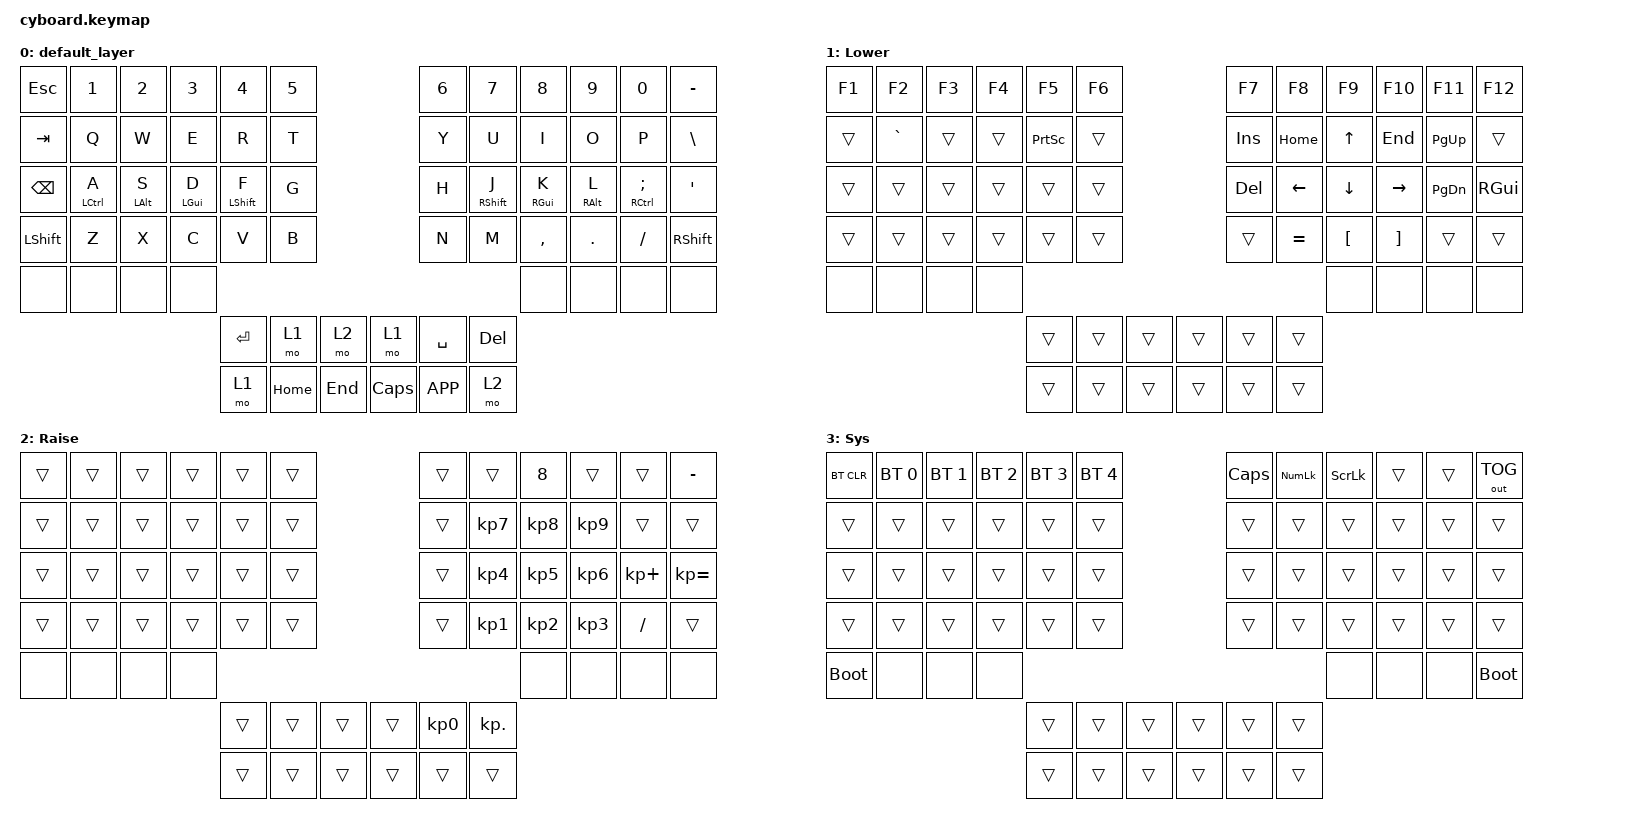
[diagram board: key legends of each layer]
#include <behaviors.dtsi>
#include <dt-bindings/zmk/keys.h>
#include <dt-bindings/zmk/rgb.h>
#include <dt-bindings/zmk/ext_power.h>
#include <dt-bindings/zmk/bt.h>
#include <dt-bindings/zmk/outputs.h>

/ {
    behaviors {
        tpmt: tpmt {
            compatible = "zmk,behavior-hold-tap";
            label = "TPMT";
            bindings = <&kp>, <&kp>;

            #binding-cells = <2>;
            flavor = "tap-preferred";
            tapping-term-ms = <200>;
            require-prior-idle-ms = <125>;
            quick-tap-ms = <125>;
        };
    };

    keymap {
        compatible = "zmk,keymap";

        default_layer {
            bindings = <
&kp ESC        &kp N1         &kp N2            &kp N3        &kp N4          &kp N5                         &kp N6   &kp N7         &kp N8         &kp N9        &kp N0                 &kp MINUS
&kp TAB        &kp Q          &kp W             &kp E         &kp R           &kp T                           &kp Y    &kp U          &kp I          &kp O         &kp P                  &kp BACKSLASH
&kp BACKSPACE  &tpmt LCTRL A  &tpmt LEFT_ALT S  &tpmt LGUI D  &tpmt LSHIFT F  &kp G                           &kp H    &tpmt RSHFT J  &tpmt RGUI K   &tpmt RALT L  &tpmt RCTRL SEMICOLON  &kp SQT
&kp LSHFT      &kp Z          &kp X             &kp C         &kp V           &kp B                           &kp N    &kp M          &kp COMMA      &kp DOT       &kp FSLH               &kp RSHFT
&none          &none          &none             &none                                                                                 &none          &none         &none                  &none
                                                                      &kp ENTER &mo 1  &mo 2      &mo 1 &kp SPACE &kp DEL
                                                                      &mo 1   &kp HOME &kp END    &kp CAPS &kp K_APP &mo 2
            >;
        };

        lower_layer {
            display-name = "Lower";
            bindings = <
&kp F1  &kp F2     &kp F3  &kp F4  &kp F5           &kp F6                    &kp F7   &kp F8     &kp F9    &kp F10    &kp F11    &kp F12
&trans  &kp GRAVE  &trans  &trans  &kp PRINTSCREEN  &trans                    &kp INS  &kp HOME   &kp UP    &kp END    &kp PG_UP  &trans
&trans  &trans     &trans  &trans  &trans           &trans                    &kp DEL  &kp LEFT   &kp DOWN  &kp RIGHT  &kp PG_DN  &kp RGUI
&trans  &trans     &trans  &trans  &trans           &trans                    &trans   &kp EQUAL  &kp LBKT  &kp RBKT   &trans     &trans
&none   &none      &none   &none                                                                  &none     &none      &none      &none
                                          &trans  &trans &trans       &trans  &trans &trans
                                          &trans  &trans &trans       &trans  &trans &trans
            >;
        };

        raise_layer {
            display-name = "Raise";
            bindings = <
&trans  &trans  &trans  &trans  &trans  &trans                       &trans      &trans     &kp NUMBER_8  &trans     &trans       &kp MINUS
&trans  &trans  &trans  &trans  &trans  &trans                       &trans      &kp KP_N7  &kp KP_N8     &kp KP_N9  &trans       &trans
&trans  &trans  &trans  &trans  &trans  &trans                       &trans      &kp KP_N4  &kp KP_N5     &kp KP_N6  &kp KP_PLUS  &kp KP_EQUAL
&trans  &trans  &trans  &trans  &trans  &trans                       &trans      &kp KP_N1  &kp KP_N2     &kp KP_N3  &kp SLASH    &trans
&none   &none   &none   &none                                                               &none         &none      &none        &none
                                  &trans  &trans &trans        &trans &kp KP_N0 &kp KP_DOT
                                  &trans  &trans &trans        &trans &trans &trans
            >;
        };

        sys_layer {
            display-name = "Sys";
            bindings = <
&bt BT_CLR   &bt BT_SEL 0  &bt BT_SEL 1  &bt BT_SEL 2  &bt BT_SEL 3  &bt BT_SEL 4                    &kp CAPSLOCK       &kp KP_NUMLOCK  &kp SCROLLLOCK   &trans  &trans  &out OUT_TOG
&trans       &trans        &trans        &trans        &trans        &trans                          &trans             &trans          &trans           &trans  &trans  &trans
&trans       &trans        &trans        &trans        &trans        &trans                          &trans             &trans          &trans           &trans  &trans  &trans
&trans       &trans        &trans        &trans        &trans        &trans                          &trans             &trans          &trans           &trans  &trans  &trans
&bootloader  &none         &none         &none                                                                                          &none            &none   &none   &bootloader
                                                              &trans  &trans &trans       &trans  &trans &trans
                                                              &trans  &trans &trans       &trans  &trans &trans
            >;
        };

        extra1 {
            status = "reserved";
        };

        extra2 {
            status = "reserved";
        };

        extra3 {
            status = "reserved";
        };

    };

    conditional_layers {
        compatible = "zmk,conditional-layers";

        adjust_layer {
            if-layers = <1 2>;
            then-layer = <3>;
        };
    };

};
